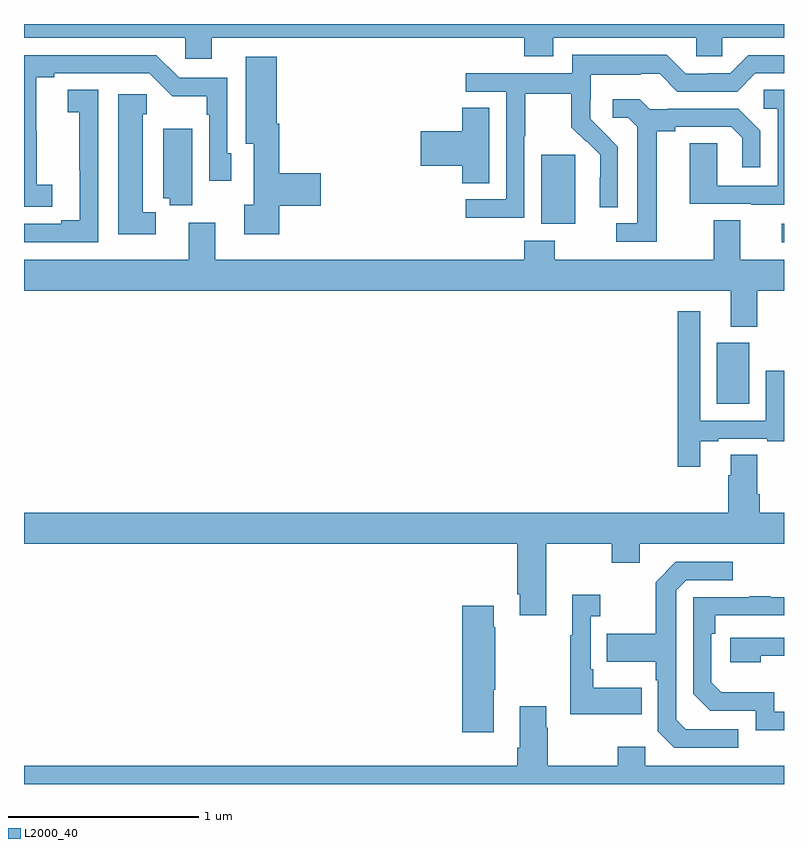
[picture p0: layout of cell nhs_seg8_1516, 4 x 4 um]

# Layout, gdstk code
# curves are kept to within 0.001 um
import gdstk
lib = gdstk.Library(unit=1e-6, precision=1e-09)
def R(c, l, rs):  # rectangles x0, y0, x1, y1
    for r in rs: c.add(gdstk.rectangle(r[:2], r[2:], *l))
def P(c, l, *ps):  # polygons
    for p in ps: c.add(gdstk.Polygon(p, *l))
L2000_40 = (2000, 40)

nhs_seg8_1516 = lib.new_cell('nhs_seg8_1516')
R(nhs_seg8_1516, L2000_40, [(210.647,1119.902,210.817,1120.222), (210.987,1120.752,211,1120.848), (209.723,1120.85,209.902,1121.211)])
P(nhs_seg8_1516, L2000_40, [(207.988,1121.828),(209.633,1121.828),(209.633,1121.729),(209.785,1121.729),(209.785,1121.828),(210.537,1121.828),(210.537,1121.73),(210.675,1121.73),(210.675,1121.828),(211,1121.828),(211,1121.9),(207,1121.9),(207,1121.828),(207.849,1121.828),(207.849,1121.718),(207.988,1121.718)],
  [(209.634,1121.308),(209.637,1121.308),(209.637,1121.532),(209.881,1121.532),(209.881,1121.357),(209.958,1121.28),(209.961,1121.283),(210.032,1121.213),(210.032,1121.09),(210.03,1121.09),(210.03,1120.936),(210.126,1120.936),(210.126,1121.254),(209.98,1121.402),(209.98,1121.499),(209.982,1121.499),(209.982,1121.633),(210.245,1121.633),(210.245,1121.637),(210.345,1121.637),(210.438,1121.544),(210.753,1121.544),(210.849,1121.64),(211,1121.64),(211,1121.736),(210.813,1121.736),(210.717,1121.64),(210.599,1121.64),(210.599,1121.637),(210.483,1121.637),(210.383,1121.737),(209.886,1121.737),(209.886,1121.64),(209.325,1121.64),(209.325,1121.544),(209.538,1121.544),(209.538,1120.977),(209.325,1120.977),(209.325,1120.879),(209.634,1120.879)],
  [(207.148,1121.054),(207.066,1121.054),(207.064,1121.62),(207.16,1121.62),(207.16,1121.64),(207.66,1121.64),(207.781,1121.519),(207.963,1121.519),(207.963,1121.423),(207.975,1121.423),(207.975,1121.076),(208.092,1121.076),(208.092,1121.22),(208.071,1121.22),(208.071,1121.616),(207.816,1121.616),(207.696,1121.736),(207,1121.736),(207,1120.939),(207.148,1120.939)],
  [(208.343,1120.943),(208.561,1120.943),(208.561,1121.114),(208.343,1121.114),(208.343,1121.374),(208.33,1121.374),(208.33,1121.728),(208.166,1121.728),(208.166,1121.27),(208.208,1121.27),(208.208,1120.95),(208.158,1120.95),(208.158,1120.794),(208.343,1120.794)],
  [(211,1121.555),(210.894,1121.555),(210.894,1121.454),(210.966,1121.454),(210.966,1121.049),(210.648,1121.049),(210.648,1121.273),(210.503,1121.273),(210.503,1120.953),(210.827,1120.953),(210.827,1120.949),(211,1120.949)],
  [(207.39,1121.555),(207.231,1121.555),(207.231,1121.435),(207.292,1121.435),(207.292,1121.131),(207.293,1121.131),(207.293,1120.868),(207.197,1120.868),(207.197,1120.848),(207,1120.848),(207,1120.752),(207.39,1120.752)],
  [(207.694,1120.908),(207.625,1120.908),(207.625,1121.424),(207.647,1121.424),(207.647,1121.53),(207.497,1121.53),(207.497,1120.793),(207.694,1120.793)],
  [(210.331,1121.336),(210.427,1121.336),(210.427,1121.358),(210.722,1121.358),(210.779,1121.301),(210.779,1121.145),(210.876,1121.145),(210.876,1121.338),(210.76,1121.454),(210.388,1121.454),(210.388,1121.451),(210.294,1121.451),(210.242,1121.503),(210.099,1121.503),(210.099,1121.406),(210.18,1121.406),(210.227,1121.359),(210.227,1120.851),(210.117,1120.851),(210.117,1120.755),(210.331,1120.755)],
  [(209.449,1121.459),(209.306,1121.459),(209.306,1121.336),(209.088,1121.336),(209.088,1121.153),(209.306,1121.153),(209.306,1121.062),(209.449,1121.062)],
  [(207.886,1121.35),(207.734,1121.35),(207.734,1120.982),(207.766,1120.982),(207.766,1120.945),(207.886,1120.945)],
  [(210.859,1120.496),(211,1120.496),(211,1120.66),(210.769,1120.66),(210.769,1120.868),(210.629,1120.868),(210.629,1120.66),(209.793,1120.66),(209.793,1120.759),(209.633,1120.759),(209.633,1120.66),(208.006,1120.66),(208.006,1120.855),(207.866,1120.855),(207.866,1120.66),(207,1120.66),(207,1120.496),(210.719,1120.496),(210.719,1120.307),(210.859,1120.307)],
  [(210.559,1119.705),(210.655,1119.705),(210.655,1119.717),(210.911,1119.717),(210.911,1119.705),(211,1119.705),(211,1120.075),(210.905,1120.075),(210.905,1119.813),(210.558,1119.813),(210.558,1120.387),(210.442,1120.387),(210.442,1119.57),(210.559,1119.57)],
  [(209.749,1119.164),(210.094,1119.164),(210.094,1119.065),(210.241,1119.065),(210.241,1119.164),(211,1119.164),(211,1119.328),(210.872,1119.328),(210.872,1119.424),(210.859,1119.424),(210.859,1119.632),(210.719,1119.632),(210.719,1119.524),(210.707,1119.524),(210.707,1119.328),(207,1119.328),(207,1119.164),(209.597,1119.164),(209.597,1118.899),(209.609,1118.899),(209.609,1118.787),(209.749,1118.787)],
  [(210.76,1118.187),(210.483,1118.187),(210.432,1118.238),(210.432,1118.919),(210.486,1118.973),(210.73,1118.973),(210.73,1119.069),(210.429,1119.069),(210.324,1118.963),(210.324,1118.691),(210.067,1118.691),(210.067,1118.543),(210.324,1118.543),(210.324,1118.447),(210.336,1118.447),(210.336,1118.178),(210.423,1118.091),(210.76,1118.091)],
  [(210.251,1118.407),(209.995,1118.407),(209.995,1118.503),(209.982,1118.503),(209.982,1118.783),(210.034,1118.783),(210.034,1118.896),(209.885,1118.896),(209.885,1118.683),(209.874,1118.683),(209.874,1118.267),(210.251,1118.267)],
  [(211,1118.28),(210.948,1118.28),(210.948,1118.383),(210.671,1118.383),(210.618,1118.436),(210.618,1118.69),(210.638,1118.69),(210.638,1118.787),(211,1118.787),(211,1118.883),(210.929,1118.883),(210.929,1118.888),(210.817,1118.888),(210.817,1118.883),(210.522,1118.883),(210.522,1118.376),(210.612,1118.286),(210.852,1118.286),(210.852,1118.184),(211,1118.184)],
  [(209.473,1118.395),(209.481,1118.395),(209.481,1118.726),(209.473,1118.726),(209.473,1118.839),(209.306,1118.839),(209.306,1118.172),(209.473,1118.172)],
  [(210.878,1118.574),(211,1118.574),(211,1118.67),(210.717,1118.67),(210.717,1118.54),(210.878,1118.54)],
  [(211,1117.996),(210.27,1117.996),(210.27,1118.095),(210.124,1118.095),(210.124,1117.996),(209.757,1117.996),(209.757,1118.195),(209.749,1118.195),(209.749,1118.308),(209.609,1118.308),(209.609,1118.092),(209.597,1118.092),(209.597,1117.996),(207,1117.996),(207,1117.9),(211,1117.9)])

lib.write_gds('nhs_seg8_1516.gds')
